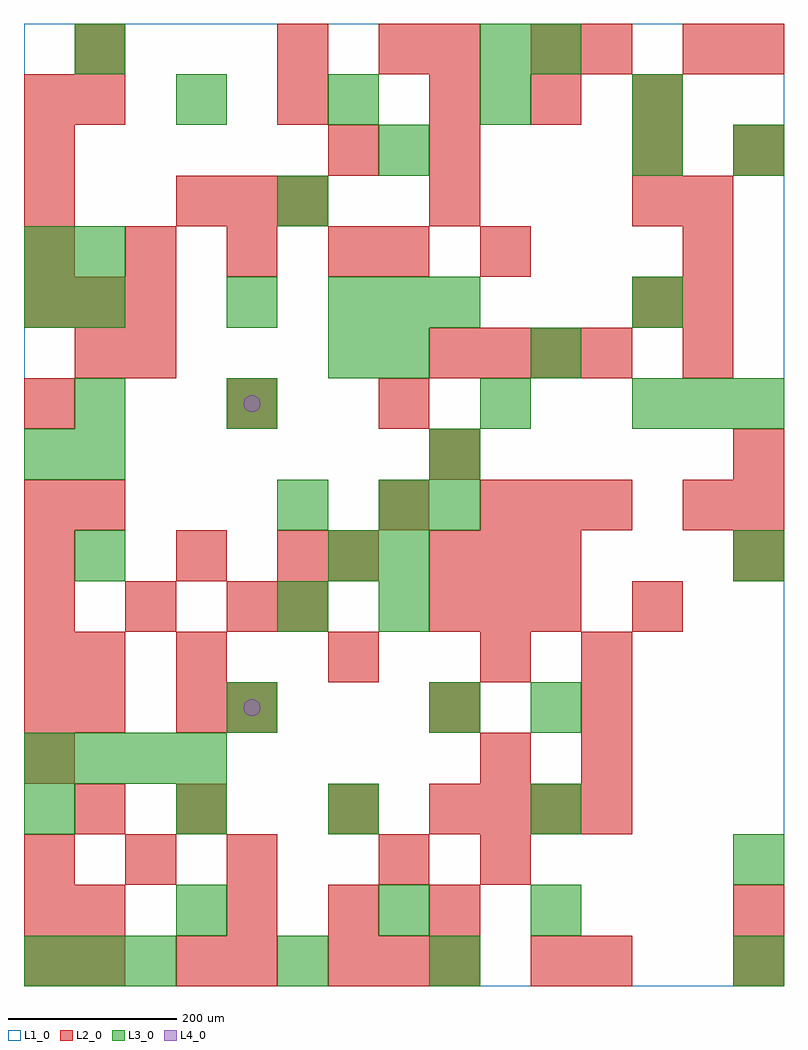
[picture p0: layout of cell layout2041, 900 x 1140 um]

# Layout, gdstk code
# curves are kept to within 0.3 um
import gdstk
lib = gdstk.Library(unit=1e-6, precision=1e-09)
def R(c, l, rs):  # rectangles x0, y0, x1, y1
    for r in rs: c.add(gdstk.rectangle(r[:2], r[2:], *l))
def A(c, l, x, y, w, h, nx, ny, dx, dy):  # array of equal rectangles
    R(c, l, [(x+i*dx, y+j*dy, x+i*dx+w, y+j*dy+h) for i in range(nx) for j in range(ny)])
def P(c, l, *ps):  # polygons
    for p in ps: c.add(gdstk.Polygon(p, *l))
L1_0 = (1, 0)
L2_0 = (2, 0)
L3_0 = (3, 0)
L4_0 = (4, 0)

layout2041 = lib.new_cell('layout2041')
R(layout2041, L1_0, [(0,0,900,1140)])
A(layout2041, L2_0, 360, 0, 60, 60, 3, 1, 60, 0)
A(layout2041, L2_0, 60, 60, 60, 60, 1, 3, 0, 120)
A(layout2041, L2_0, 240, 60, 60, 60, 3, 1, 120, 0)
A(layout2041, L2_0, 0, 120, 60, 60, 3, 2, 120, 300)
A(layout2041, L2_0, 480, 180, 60, 60, 4, 2, 60, 540)
A(layout2041, L2_0, 0, 240, 60, 60, 1, 3, 0, 60)
A(layout2041, L2_0, 660, 240, 60, 60, 1, 3, 0, 60)
A(layout2041, L2_0, 480, 300, 60, 60, 1, 3, 0, 300)
A(layout2041, L2_0, 60, 360, 60, 60, 1, 3, 0, 180)
A(layout2041, L2_0, 180, 360, 60, 60, 3, 1, 180, 0)
A(layout2041, L2_0, 480, 420, 60, 60, 3, 2, 60, 60)
A(layout2041, L2_0, 840, 480, 60, 60, 1, 3, 0, 60)
A(layout2041, L2_0, 540, 540, 60, 60, 3, 1, 60, 0)
A(layout2041, L2_0, 780, 720, 60, 60, 1, 4, 0, 60)
A(layout2041, L2_0, 0, 780, 60, 60, 3, 1, 60, 0)
A(layout2041, L2_0, 0, 840, 60, 60, 4, 1, 120, 0)
A(layout2041, L2_0, 0, 900, 60, 60, 1, 3, 0, 60)
A(layout2041, L2_0, 180, 900, 60, 60, 3, 1, 60, 0)
A(layout2041, L2_0, 480, 1020, 60, 60, 3, 1, 120, 0)
R(layout2041, L2_0, [(0,0,60,60), (60,0,120,60), (180,0,240,60), (240,0,300,60), (600,0,660,60), (660,0,720,60), (840,0,900,60), (0,60,60,120), (840,60,900,120), (420,120,480,180), (540,120,600,180), (180,180,240,240), (360,180,420,240), (540,240,600,300), (180,300,240,360), (240,300,300,360), (300,420,360,480), (720,420,780,480), (0,480,60,540), (180,480,240,540), (300,480,360,540), (360,480,420,540), (0,540,60,600), (420,540,480,600), (780,540,840,600), (0,660,60,720), (240,660,300,720), (420,660,480,720), (120,720,180,780), (720,780,780,840), (420,840,480,900), (540,840,600,900), (720,900,780,960), (360,960,420,1020), (480,960,540,1020), (720,960,780,1020), (840,960,900,1020), (60,1020,120,1080), (300,1020,360,1080), (60,1080,120,1140), (300,1080,360,1140), (420,1080,480,1140), (480,1080,540,1140), (600,1080,660,1140), (660,1080,720,1140), (780,1080,840,1140), (840,1080,900,1140)])
A(layout2041, L3_0, 0, 0, 60, 60, 3, 1, 60, 0)
A(layout2041, L3_0, 600, 60, 60, 60, 1, 3, 0, 120)
A(layout2041, L3_0, 0, 180, 60, 60, 3, 1, 180, 0)
A(layout2041, L3_0, 0, 240, 60, 60, 4, 1, 60, 0)
A(layout2041, L3_0, 420, 420, 60, 60, 1, 3, 0, 60)
A(layout2041, L3_0, 720, 660, 60, 60, 3, 1, 60, 0)
A(layout2041, L3_0, 360, 780, 60, 60, 3, 1, 60, 0)
A(layout2041, L3_0, 180, 1020, 60, 60, 4, 1, 180, 0)
R(layout2041, L3_0, [(300,0,360,60), (480,0,540,60), (840,0,900,60), (180,60,240,120), (420,60,480,120), (840,120,900,180), (240,300,300,360), (480,300,540,360), (300,420,360,480), (60,480,120,540), (360,480,420,540), (840,480,900,540), (300,540,360,600), (480,540,540,600), (0,600,60,660), (60,600,120,660), (480,600,540,660), (60,660,120,720), (240,660,300,720), (540,660,600,720), (360,720,420,780), (420,720,480,780), (600,720,660,780), (0,780,60,840), (60,780,120,840), (240,780,300,840), (720,780,780,840), (0,840,60,900), (60,840,120,900), (300,900,360,960), (420,960,480,1020), (720,960,780,1020), (840,960,900,1020), (60,1080,120,1140), (540,1080,600,1140), (600,1080,660,1140)])
P(layout2041, L4_0, [(280,330),(279.239,333.827),(277.071,337.071),(273.827,339.239),(270,340),(266.173,339.239),(262.929,337.071),(260.761,333.827),(260,330),(260.761,326.173),(262.929,322.929),(266.173,320.761),(270,320),(273.827,320.761),(277.071,322.929),(279.239,326.173)],
  [(280,690),(279.239,693.827),(277.071,697.071),(273.827,699.239),(270,700),(266.173,699.239),(262.929,697.071),(260.761,693.827),(260,690),(260.761,686.173),(262.929,682.929),(266.173,680.761),(270,680),(273.827,680.761),(277.071,682.929),(279.239,686.173)])

lib.write_gds('layout2041.gds')
